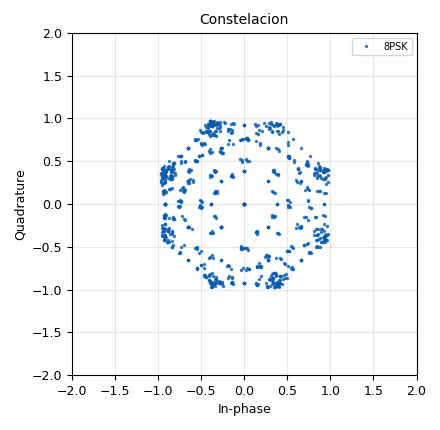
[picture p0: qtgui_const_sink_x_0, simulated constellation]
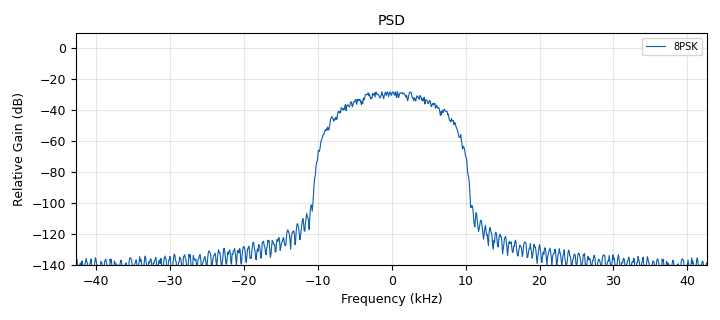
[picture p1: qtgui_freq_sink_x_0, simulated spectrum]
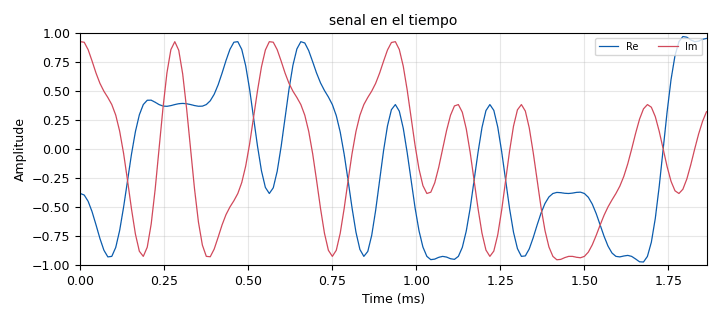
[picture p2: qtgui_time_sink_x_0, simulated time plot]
options:
  parameters:
    category: Custom
    generate_options: qt_gui
    id: top_block
    output_language: python
    run: run_stop
  states: {}

blocks:
- name: Bps
  id: variable
  parameters:
    value: numpy.log2(M)
  states: {}
- name: M
  id: variable
  parameters:
    value: '8'
  states: {}
- name: MiConstelacion
  id: variable_constellation
  parameters:
    const_points: digital.constellation_8psk().points()
    dims: '1'
    normalization: digital.constellation.AMPLITUDE_NORMALIZATION
    precision: '8'
    rot_sym: '4'
    sym_map: '[0, 1, 2, 3,4,5,6,7]'
    type: calcdist
  states: {}
- name: Rb
  id: variable
  parameters:
    value: '32000'
  states: {}
- name: Rs
  id: variable
  parameters:
    value: Rb/Bps
  states: {}
- name: Sps
  id: variable
  parameters:
    value: '8'
  states: {}
- name: ntaps
  id: variable
  parameters:
    value: '128'
  states: {}
- name: rolloff
  id: variable
  parameters:
    value: '1'
  states: {}
- name: run_stop
  id: variable_qtgui_check_box
  parameters:
    'false': 'False'
    gui_hint: 0,0,1,1
    label: Inicial/Parar
    'true': 'True'
    type: int
    value: 'True'
  states: {}
- name: samp_rate
  id: variable
  parameters:
    value: Rs*Sps
  states: {}
- name: analog_random_source_x_0
  id: analog_random_source_x
  parameters:
    max: M
    min: '0'
    num_samps: '100000000'
    repeat: 'True'
    type: byte
  states: {}
- name: blocks_complex_to_float_0
  id: blocks_complex_to_float
  parameters: {}
  states: {}
- name: blocks_file_sink_0_0_0_0
  id: blocks_file_sink
  parameters:
    file: /media/uis-e3t/DATADRIVE1/MisGitHub/Libro_su_software/Generacion_de_las_figuras_del_libro/capitulo4/diagramas de ojo/waveform/senal0
    type: float
  states: {}
- name: blocks_file_sink_0_0_0_1
  id: blocks_file_sink
  parameters:
    file: /media/uis-e3t/DATADRIVE1/MisGitHub/Libro_su_software/Generacion_de_las_figuras_del_libro/capitulo4/diagramas de ojo/waveform/senal1
    type: float
  states: {}
- name: digital_chunks_to_symbols_xx_0
  id: digital_chunks_to_symbols_xx
  parameters:
    dimension: '1'
    in_type: byte
    out_type: complex
    symbol_table: MiConstelacion.points()
  states: {}
- name: import_0
  id: import
  parameters:
    imports: import numpy
  states: {}
- name: interp_fir_filter_xxx_0_0_0_0_0_2
  id: interp_fir_filter_xxx
  parameters:
    interp: Sps
    taps: wform.rcos(Sps,ntaps,rolloff)
    type: ccf
  states: {}
- name: qtgui_const_sink_x_0
  id: qtgui_const_sink_x
  parameters:
    gui_hint: 2,1,1,1
    label1: 8PSK
    name: '"Constelacion"'
    size: '1024'
    style1: '1'
    type: complex
  states: {}
- name: qtgui_freq_sink_x_0
  id: qtgui_freq_sink_x
  parameters:
    average: '0.05'
    bw: samp_rate
    fc: '0'
    fftsize: '1024'
    gui_hint: 2,0,1,1
    label1: 8PSK
    name: '"PSD"'
    showports: 'True'
    type: complex
    width1: '3'
  states: {}
- name: qtgui_time_sink_x_0
  id: qtgui_time_sink_x
  parameters:
    gui_hint: 1,0,1,2
    label1: Re
    label2: Im
    name: '"senal en el tiempo"'
    size: 20*Sps
    srate: samp_rate
    type: complex
    width1: '3'
    width2: '3'
  states: {}
- name: virtual_sink_0
  id: virtual_sink
  parameters: {}
  states: {}
- name: virtual_source_0
  id: virtual_source
  parameters: {}
  states: {}
- name: wform
  id: epy_module
  parameters:
    source_code: |
      import math
      import numpy
      #######################################################
      ##        Hecho por Homero Ortega Boada              ##
      ##        comdiguis@saber.uis.edu.co                 ##
      ##     Universidad Industrial de Santander           ##
      #######################################################

      #######################################################
      ##               Forma rectangular                   ##
      #######################################################                       
      def rect(Sps):
          return Sps*[1.,]

      #######################################################
      ##               Forma de Nyquist                    ##
      #######################################################                       
      def nyq(Sps,ntaps):
          n=numpy.linspace(-int(ntaps/2), int(ntaps/2-1),ntaps)
          h=numpy.sinc(n/Sps)
      #    return h/numpy.amax(h)
          return h
      #######################################################
      ##               Forma Coseno Alzado                 ##
      #######################################################                       
      def rcos(Sps,ntaps,beta):
          if beta==0:
              h=nyq(Sps,ntaps)
          else:
              h=ntaps*[0,]
              for n in range(ntaps):
                  k=n-ntaps/2. # esto es para que h[n] quede centrada en la mitad del vector
                  if abs(k)==Sps/(2.*beta):
                      h[n]=numpy.sinc(1./(2.*beta))*math.pi/4.
                  else:
                      h[n]=numpy.sinc(k/Sps)*math.cos(beta*k*math.pi/Sps)/(1.-(2.*beta*k/Sps)**2)                
          Amp=numpy.amax(h)
          return h/Amp
      #######################################################
      ##            Forma Raiz de Coseno Alzado            ##
      #######################################################                       

      def rrcos(Sps,ntaps,beta):
          if beta==0:
              h=nyq(Sps,ntaps)
          else:
              h=ntaps*[0,]
              beta4=4.*beta
              for n in range(ntaps):
                  k=n-ntaps/2. # esto es para que h[n] quede centrada en la mitad del vector
                  if k==0:
                      h[n]=1+beta*(4./math.pi-1.)
                  elif abs(k)==Sps/beta4:
                      ha=(1.+2./math.pi)*math.sin(math.pi/beta4)
                      hb=(1.-2./math.pi)*math.cos(math.pi/beta4)
                      h[n]=(ha+hb)*beta/math.sqrt(2.)
                  else:
                      ks=k/Sps
                      kspi=math.pi*ks
                      Num=math.sin(kspi*(1-beta))+beta4*ks*math.cos(kspi*(1+beta))
                      Den=kspi*(1.-(beta4*ks)**2)
                      h[n]=Num/Den                
          Amp=numpy.amax(h)
          return h/Amp
  states: {}

connections:
- [analog_random_source_x_0, '0', digital_chunks_to_symbols_xx_0, '0']
- [blocks_complex_to_float_0, '0', blocks_file_sink_0_0_0_0, '0']
- [blocks_complex_to_float_0, '1', blocks_file_sink_0_0_0_1, '0']
- [digital_chunks_to_symbols_xx_0, '0', interp_fir_filter_xxx_0_0_0_0_0_2, '0']
- [interp_fir_filter_xxx_0_0_0_0_0_2, '0', blocks_complex_to_float_0, '0']
- [interp_fir_filter_xxx_0_0_0_0_0_2, '0', virtual_sink_0, '0']
- [virtual_source_0, '0', qtgui_const_sink_x_0, '0']
- [virtual_source_0, '0', qtgui_freq_sink_x_0, '0']
- [virtual_source_0, '0', qtgui_time_sink_x_0, '0']

metadata:
  file_format: 1
